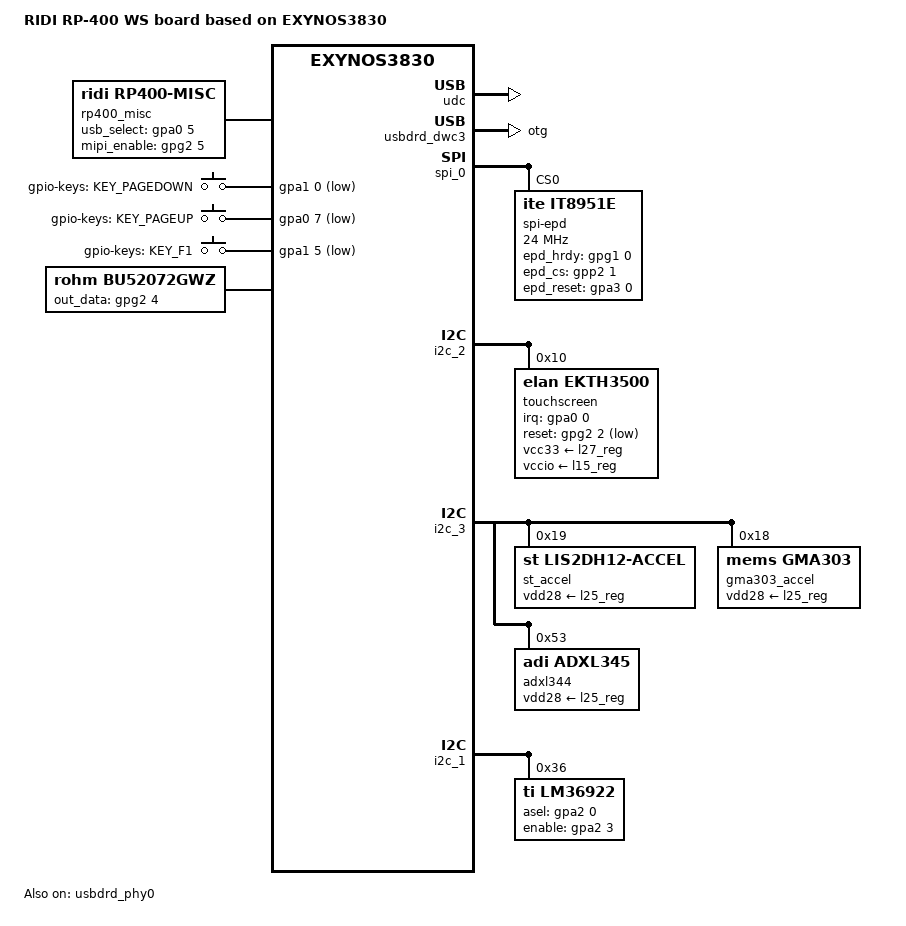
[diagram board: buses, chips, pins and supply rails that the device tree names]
/*
 * SAMSUNG EXYNOS3830 board device tree source
 *
 * Copyright (c) 2018 Samsung Electronics Co., Ltd.
 *		http://www.samsung.com
 *
 * This program is free software; you can redistribute it and/or modify
 * it under the terms of the GNU General Public License version 2 as
 * published by the Free Software Foundation.
*/

/dts-v1/;
/plugin/;
#include "rp400-board_common.dtsi"

#define BOARD_ID	0x2
#define BOARD_REV	0x1

/ {
	compatible = "samsung,exynos3830", "samsung,ERD3830";
	board_id = <BOARD_ID>;
	board_rev = <BOARD_REV>;

	fragment@model {
		target-path = "/";
		__overlay__ {
			#address-cells = <2>;
			#size-cells = <1>;

			model = "RIDI RP-400 WS board based on EXYNOS3830";

			usb_hs_tune:hs_tune {
				status = "disabled";
				hs_tune_cnt = <10>;
				/* value = <device host> */
				hs_tune1 {
					tune_name = "tx_pre_emp";
					tune_value = <0x3 0x3>;
				};

				hs_tune2 {
					tune_name = "tx_pre_emp_plus";
					tune_value = <0x0 0x0>;
				};

				hs_tune3 {
					tune_name = "tx_vref";
					tune_value = <0xf 0xf>;
				};

				hs_tune4 {
					tune_name = "rx_sqrx";
					tune_value = <0x7 0x7>;
				};

				hs_tune5 {
					tune_name = "tx_rise";
					tune_value = <0x3 0x3>;
				};

				hs_tune6 {
					tune_name = "compdis";
					tune_value = <0x7 0x7>;
				};

				hs_tune7 {
					tune_name = "tx_hsxv";
					tune_value = <0x3 0x3>;
				};

				hs_tune8 {
					tune_name = "tx_fsls";
					tune_value = <0x3 0x3>;
				};

				hs_tune9 {
					tune_name = "tx_res";
					tune_value = <0x3 0x3>;
				};

				hs_tune10 {
					tune_name = "utmi_clk";
					tune_value = <0x1 0x1>;
				};
			};
			usb_notifier {
				compatible = "samsung,usb-notifier";
				udc = <&udc>;
			};

			rp400_misc {
				compatible = "ridi,rp400-misc";
				usb_select-gpios = <&gpa0 5 0>;
				mipi_enable-gpios = <&gpg2 5 0>;
				pinctrl-names = "pwm0_on", "pwm0_off", "pwm1_on", "pwm1_off";
				pinctrl-0 = <&led_pwm_on>;
				pinctrl-1 = <&led_pwm_off>;
				pinctrl-2 = <&led_pwm1_on>;
				pinctrl-3 = <&led_pwm1_off>;
			};

			gpio_keys {
				status = "okay";
				compatible = "gpio-keys";
				pinctrl-names = "default";
				pinctrl-0 = <&key_pagedown &key_pageup &key_function1>;

				button@1 {
					label = "gpio-keys: KEY_PAGEDOWN";
					linux,code = <109>;
					gpios = <&gpa1 0 0xf>;
				};
				button@2 {
					label = "gpio-keys: KEY_PAGEUP";
					linux,code = <104>;
					gpios = <&gpa0 7 0xf>;
				};
				button@3 {
					label = "gpio-keys: KEY_F1";
					linux,code = <59>;
					gpios = <&gpa1 5 0xf>;
				};
			};

			bu52072gwz {
				compatible = "rohm,bu52072gwz";
				pinctrl-names = "default";
				out_data-gpios = <&gpg2 4 0>;
			};
			
			lis2dh12_input {
				compatible = "st,lis2dh12";
				pinctrl-names = "default";
			};

			gma303_input {
				compatible = "mems,gma303_input";
				pinctrl-names = "default";
			};

			adxl344_input {
				compatible = "adi,adxl344_input";
				pinctrl-names = "default";
			};
		}; /* end of __overlay__ */
	}; /* end of fragment */
}; /* end of root */

&udc {
	status = "okay";
};

&usbdrd_dwc3 {
	dr_mode = "otg";
	maximum-speed = "high-speed";
	snps,quirk-frame-length-adjustment = <0x20>;
	snps,u1u2_exitfail_quirk;
	/* ux_exit_in_px should be defined in MK, LT */
	snps,ux_exit_in_px_quirk;
	/* elastic_buf_mode_quirk should be defined in MK */
	snps,elastic_buf_mode_quirk;
	/* usb3-lpm-capable;
	snps,usb3_lpm_capable;
	adj-sof-accuracy = <1>; */
	/*
	 * dis-u2-freeclk-exists-quirk, dis_u2_susphy_quirk are alternative.
	 * One of them should be selected
	 */
	snps,dis-u2-freeclk-exists-quirk;
	/*snps,dis_u2_susphy_quirk;*/

	usb_audio_offloading = <0>;
//	abox = <&abox>; /* Temporary block */
};

&usbdrd_phy0 {
	status = "okay";
	usb3phy-isolation= <1>;
	pinctrl-names = "default";
//	pinctrl-0 = <&phy_port>;
//	phy,gpio_phy_port = <&gpg0 4 0x0>;
	hs_tune_param = <&usb_hs_tune>;
//	ss_tune_param = <&usb_ss_tune>;
};

&spi_0 {
	pinctrl-names = "default";
	pinctrl-0 = <&spi0_bus>;
	#address-cells = <1>;
	#size-cells = <0>;
	status = "okay";

	spi-epd@0 {
		compatible = "ite,it8951e";
		reg = <0>;
		spi-max-frequency = <24000000>;
		epd_hrdy-gpios = <&gpg1 0 0>;
		epd_cs-gpios = <&gpp2 1 0>;
		epd_reset-gpios = <&gpa3 0 0>;
		epd_regulator_vcc33a = "vdd_ldo26";
		epd_regulator_vcc18a = "vdd_ldo28";
		controller-data {
			//cs-gpio = <&gpp2 1 0>;
			samsung,spi-feedback-delay = <0>;
		};
	};
};

&i2c_2 {
	status = "okay";
	#address-cells = <1>;
	#size-cells = <0>;
	touchscreen@10 {
		compatible = "elan,ekth3500";
		reg = <0x10>;
		elan,irq-gpio = <&gpa0 0 0>;
		elan,reset-gpio = <&gpg2 2 1>;
		vcc33-supply = <&l27_reg>;
		vccio-supply = <&l15_reg>;
	};
};

&panel_0 {
	ddi_id = <0xfa>;
	lcd_info = <&lcd_dummy>;
	pinctrl-names = "default";
	pinctrl-0 = "";
	pinctrl-1 = "";
};

&i2c_3 {
	status = "okay";
	#address-cells = <1>;
	#size-cells = <0>;
	st_accel@19 {
		compatible = "st,lis2dh12-accel";
		reg = <0x19>;
		vdd28-supply = <&l25_reg>;
	};
	gma303_accel@18 {
		compatible = "mems,gma303";
		reg = <0x18>;
		vdd28-supply = <&l25_reg>;
	};
	adxl344@53 {
		compatible = "adi,adxl345";
		reg = <0x53>;
		vdd28-supply = <&l25_reg>;
	};
};

&i2c_1 {
	status = "okay";
	#address-cells = <1>;
	#size-cells = <0>;
	samsung,i2c-max-bus-freq = <100000>;
	lm36922@36 {
		compatible = "ti,lm36922";
		reg = <0x36>;
		asel-gpios = <&gpa2 0 0>;
		enable-gpios = <&gpa2 3 0>;
		pwm_id = <0>;
		pinctrl-names = "default";

		led@0 {
			reg = <0>;
			label = ":frontlight";
			//linux,default-trigger = "backlight";
			led-max-microamp = <20000>;
		};
	};
};

&scsc_wifibt {
	vdd08-supply = <&l12_reg>;
	vdd12-supply = <&l13_reg>;
	vdd18-supply = <&l14_reg>;
};

&dsim_0 {
	vdd085-supply = <&l29_reg>;
	vdd18-supply = <&l21_reg>;
};

